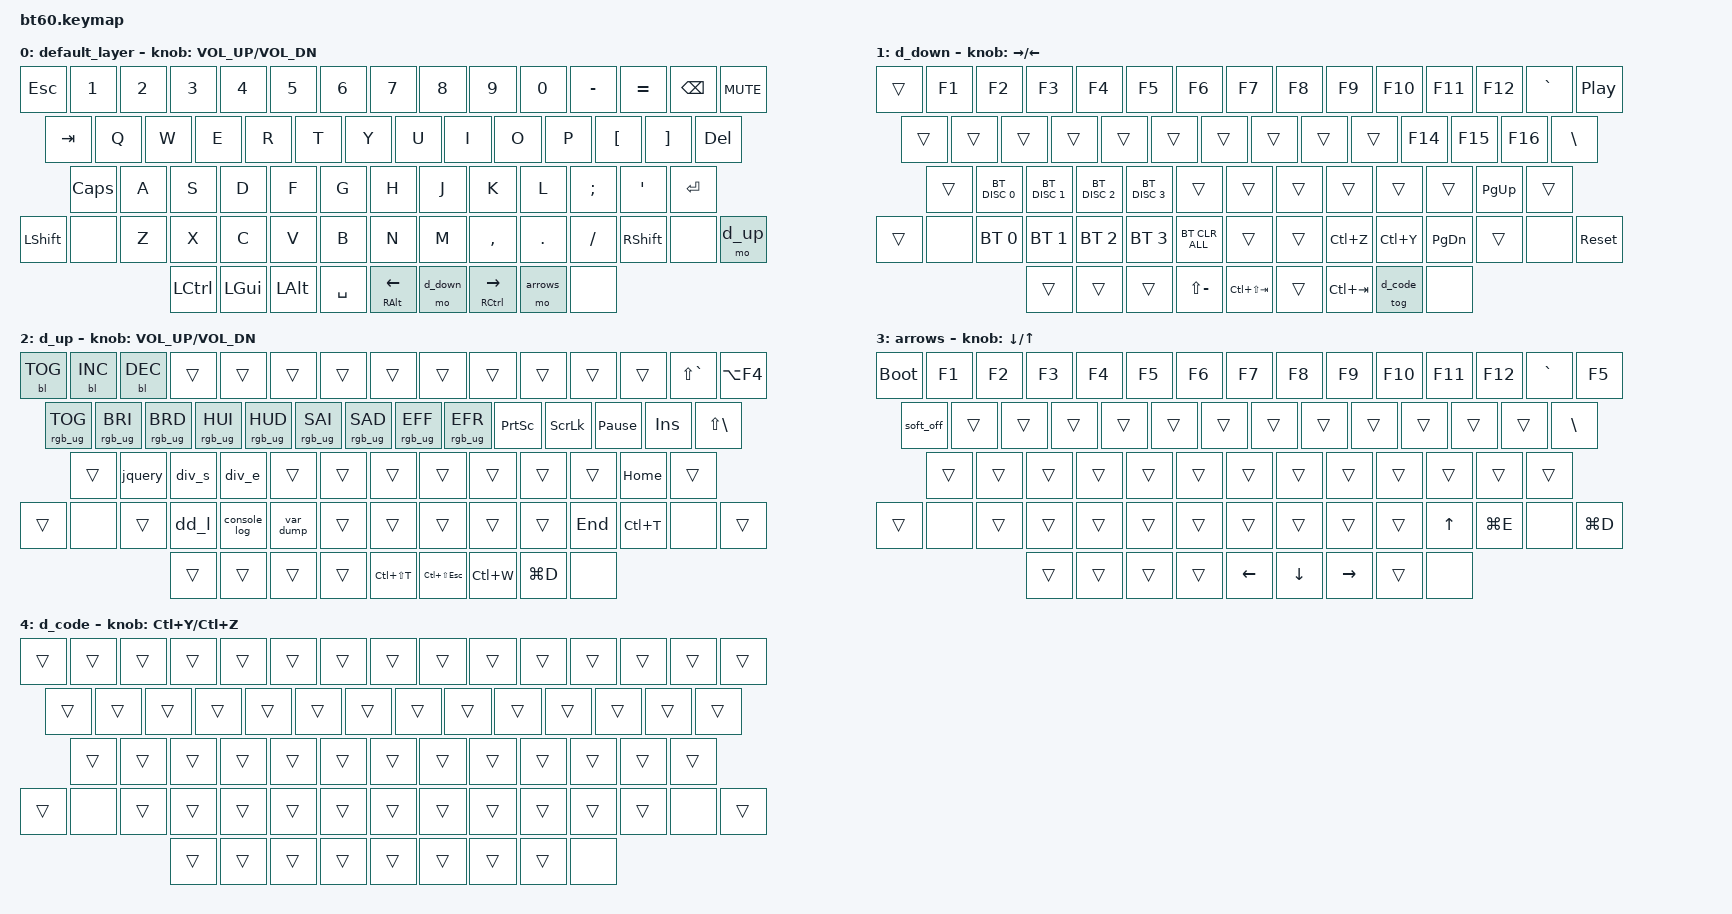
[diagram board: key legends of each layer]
#include <behaviors.dtsi>
#include <dt-bindings/zmk/keys.h>
#include <dt-bindings/zmk/bt.h>
#include <dt-bindings/zmk/rgb.h>
#include <dt-bindings/zmk/backlight.h>

#define DEFAULT 	0
#define d_down  	1
#define d_up   		2
#define arrows		3
#define d_code   	4

/ {
    macros {
		jquery: jquery {
            compatible = "zmk,behavior-macro";
            #binding-cells = <0>;
            bindings
                = <&macro_press &kp LSHFT>
				, <&macro_tap &kp N4 &kp N9>
                , <&macro_release &kp LSHFT>
				, <&macro_tap &kp SQT &kp SQT>
				, <&macro_press &kp LSHFT>
				, <&macro_tap &kp N0>
                , <&macro_release &kp LSHFT>
				, <&macro_tap &kp SEMI>
				, <&macro_tap &kp LEFT &kp LEFT &kp LEFT>
                ;
        };

		div_s: div_s {
            compatible = "zmk,behavior-macro";
            #binding-cells = <0>;
            bindings
                = <&macro_press &kp LSHFT>
				, <&macro_tap &kp COMMA>
                , <&macro_release &kp LSHFT>
				, <&macro_tap &kp D &kp I &kp V>
				, <&macro_press &kp LSHFT>
				, <&macro_tap &kp DOT>
                , <&macro_release &kp LSHFT>
                ;
        };

		div_e: div_e {
            compatible = "zmk,behavior-macro";
            #binding-cells = <0>;
            bindings
                = <&macro_press &kp LSHFT>
				, <&macro_tap &kp COMMA>
                , <&macro_release &kp LSHFT>
				, <&macro_tap &kp FSLH &kp D &kp I &kp V>
				, <&macro_press &kp LSHFT>
				, <&macro_tap &kp DOT>
                , <&macro_release &kp LSHFT>
                ;
        };

		var_dump: var_dump {
            compatible = "zmk,behavior-macro";
            #binding-cells = <0>;
            bindings
                = <&macro_tap &kp V &kp A &kp R>
                , <&macro_press &kp LSHFT>
				, <&macro_tap &kp MINUS>
                , <&macro_release &kp LSHFT>
				, <&macro_tap &kp D &kp U &kp M &kp P>
				, <&macro_press &kp LSHFT>
				, <&macro_tap &kp N9 &kp N0>
                , <&macro_release &kp LSHFT>
				, <&macro_tap &kp SEMI>
				, <&macro_tap &kp LEFT &kp LEFT>
                ;
        };

        console_log: console_log {
            compatible = "zmk,behavior-macro";
            #binding-cells = <0>;
            bindings
                = <&macro_tap &kp C &kp O &kp N &kp S &kp O &kp L &kp E &kp DOT &kp L &kp O &kp G>
                , <&macro_press &kp LSHFT>
				, <&macro_tap &kp N9 &kp N0>
                , <&macro_release &kp LSHFT>
				, <&macro_tap &kp SEMI>
				, <&macro_tap &kp LEFT &kp LEFT>
                ;
        };

		dd_l: dd_l {
            compatible = "zmk,behavior-macro";
            #binding-cells = <0>;
            bindings
                = <&macro_tap &kp D &kp D>
                , <&macro_press &kp LSHFT>
				, <&macro_tap &kp N9 &kp N0>
                , <&macro_release &kp LSHFT>
				, <&macro_tap &kp SEMI>
				, <&macro_tap &kp LEFT &kp LEFT>
                ;
        };
    };
};

&soft_off {
    hold-time-ms = <3000>; // Only turn off it the key is held for 5 seconds or longer.
};

/ {
	keymap {
		compatible = "zmk,keymap";

		default_layer {
				// ------------------------------------------------------------------------------------------
				// | ESC |  1  |  2  |  3  |  4  |  5  |  6  |  7  |  8  |  9  |  0  |  -  |  =  |BKSP | DEL |
				// | TAB  |  Q  |  W  |  E  |  R  |  T  |  Y  |  U  |  I  |  O  |  P  |  [  |  ]  |  |   |
				// | CAPS  |  A  |  S  |  D  |  F  |  G  |  H  |  J  |  K  |  L  |  ;  |  '  |     ENTER    |
				// |  SHIFT|NONE|  Z  |  X  |  C  |  V  |  B  |  N  |  M  |  ,  |  .  | /   | SHFT | UP | 1  |
				// |  CTL  |  WIN  |  ALT  |            SPACE              | ALT | CTRL | LEFT | DOWN | RIGHT |
				// ------------------------------------------------------------------------------------------
			bindings = <
				&kp ESC &kp N1 &kp N2 &kp N3 &kp N4 &kp N5 &kp N6 &kp N7 &kp  N8   &kp  N9 &kp  N0  &kp MINUS &kp EQUAL &kp BSPC &kp C_MUTE
				&kp TAB  &kp Q  &kp W  &kp E  &kp R  &kp T  &kp Y  &kp U  &kp  I    &kp  O  &kp  P   &kp LBKT &kp RBKT  &kp DEL
				&kp CLCK  &kp A  &kp S  &kp D  &kp F  &kp G  &kp H  &kp J  &kp  K    &kp  L  &kp SEMI &kp SQT           &kp RET
				&kp LSHFT &none  &kp Z  &kp X  &kp C  &kp V  &kp B  &kp N  &kp M  &kp COMMA &kp DOT &kp FSLH    &kp RSHFT &none &mo d_up
				&kp LCTRL &kp LGUI &kp LALT            &kp SPACE                          &mt RALT LEFT  &mo d_down &mt RCTRL RIGHT &mo arrows &none
			>;
			sensor-bindings = <&inc_dec_kp C_VOL_UP C_VOL_DN>;
		};
		d_down {
			bindings = <
				&trans &kp F1 &kp F2 &kp F3 &kp F4 &kp F5 &kp F6 &kp F7 &kp F8 &kp F9 &kp F10 &kp F11 &kp F12 &kp GRAVE &kp C_PLAY_PAUSE
				&trans &trans &trans &trans &trans &trans &trans &trans &trans &trans &kp F14 &kp F15 &kp F16 &kp BSLH
				&trans    &bt BT_DISC 0 &bt BT_DISC 1 &bt BT_DISC 2 &bt BT_DISC 3 &trans &trans &trans &trans &trans &trans  &kp PAGE_UP   &trans
				&trans &none &bt BT_SEL 0 &bt BT_SEL 1 &bt BT_SEL 2 &bt BT_SEL 3 &bt BT_CLR_ALL &trans &trans &kp LC(Z) &kp LC(Y) &kp PAGE_DOWN &trans &none &sys_reset
				&trans &trans  &trans              &kp LS(MINUS)                            &kp LC(LS(TAB))  &trans &kp LC(TAB) &tog d_code &none
			>;
			sensor-bindings = <&inc_dec_kp RIGHT LEFT>;
		};
		d_up {
			bindings = <
				&bl BL_TOG &bl BL_INC &bl BL_DEC &trans &trans &trans &trans &trans &trans &trans &trans &trans &trans &kp LS(GRAVE) &kp LA(F4)
				&rgb_ug RGB_TOG &rgb_ug RGB_BRI &rgb_ug RGB_BRD &rgb_ug RGB_HUI &rgb_ug RGB_HUD &rgb_ug RGB_SAI &rgb_ug RGB_SAD &rgb_ug RGB_EFF &rgb_ug RGB_EFR &kp PSCRN &kp SLCK &kp PAUSE_BREAK &kp INS &kp LS(BSLH)
				&trans   &jquery &div_s &div_e &trans &trans &trans &trans &trans &trans &trans  &kp HOME   &trans
				&trans &none &trans &dd_l &console_log &var_dump &trans &trans &trans &trans &trans &kp END &kp LC(T) &none &trans
				&trans &trans  &trans              &trans                            &kp LC(LS(T))  &kp LC(LS(ESC)) &kp LC(W) &kp LG(D) &none
			>;
			sensor-bindings = <&inc_dec_kp C_VOL_UP C_VOL_DN>;
		};
		arrows {
			bindings = <
				&bootloader &kp F1 &kp F2 &kp F3 &kp F4 &kp F5 &kp F6 &kp F7 &kp F8 &kp F9 &kp F10 &kp F11 &kp F12 &kp GRAVE &kp F5
				&soft_off &trans &trans &trans &trans &trans &trans &trans &trans &trans &trans &trans &trans &kp BSLH
				&trans   &trans &trans &trans &trans &trans &trans &trans &trans &trans &trans  &trans   &trans
				&trans &none &trans &trans &trans &trans &trans &trans &trans &trans &trans &kp UP &kp LG(E) &none &kp LG(D)
				&trans &trans &trans              &trans                            &kp LEFT &kp DOWN &kp RIGHT &trans &none
			>;
			sensor-bindings = <&inc_dec_kp DOWN UP>;
		};
		d_code {
			bindings = <
				&trans &trans &trans &trans &trans &trans &trans &trans &trans &trans &trans &trans &trans &trans &trans
				&trans &trans &trans &trans &trans &trans &trans &trans &trans &trans &trans &trans &trans &trans
				&trans   &trans &trans &trans &trans &trans &trans &trans &trans &trans &trans  &trans   &trans
				&trans &none &trans &trans &trans &trans &trans &trans &trans &trans &trans &trans &trans &none &trans
				&trans &trans &trans              &trans                            &trans &trans &trans &trans &none
			>;
			sensor-bindings = <&inc_dec_kp LC(Y) LC(Z)>;
		};
	};
};
